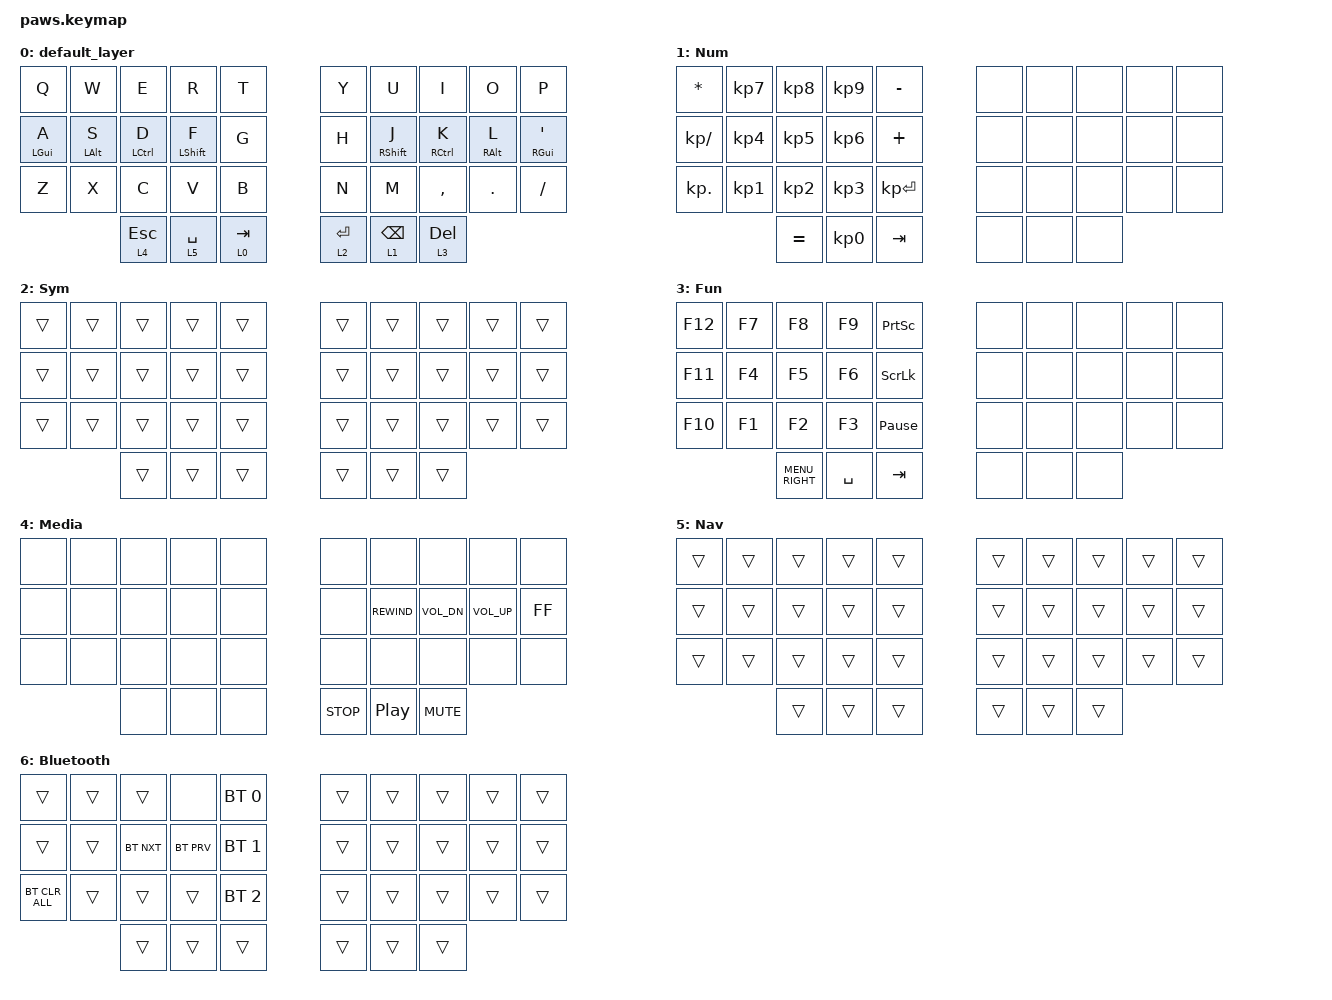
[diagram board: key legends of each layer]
// Copyright (c) 2022 The ZMK Contributors
// SPDX-License-Identifier: MIT

#include <behaviors.dtsi>
#include <dt-bindings/zmk/bt.h>
#include <dt-bindings/zmk/keys.h>

/ {
    behaviors {
        ht: hold_tap {
            compatible = "zmk,behavior-hold-tap";
            #binding-cells = <2>;
            flavor = "tap-preferred";
            tapping-term-ms = <220>;
            quick-tap-ms = <150>;
            require-prior-idle-ms = <100>;
            bindings = <&kp>, <&kp>;
        };
    };

    conditional_layers {
        compatible = "zmk,conditional-layers";

        tri_layer {
            if-layers = <1 2>;
            then-layer = <2>;
        };

        Bluetooth {
            if-layers = <1 5>;
            then-layer = <6>;
        };
    };

    keymap {
        compatible = "zmk,keymap";

        default_layer {
            bindings = <
&kp Q           &kp W       &kp E        &kp R         &kp T      &kp Y        &kp U         &kp I        &kp O       &kp P
&ht LEFT_GUI A  &ht LALT S  &ht LCTRL D  &ht LSHIFT F  &kp G      &kp H        &ht RSHIFT J  &ht RCTRL K  &ht RALT L  &ht RGUI SQT
&kp Z           &kp X       &kp C        &kp V         &kp B      &kp N        &kp M         &kp COMMA    &kp DOT     &kp FSLH
                            &lt 4 ESC    &lt 5 SPACE   &lt 0 TAB  &lt 2 ENTER  &lt 1 BSPC    &lt 3 DEL
            >;
        };

        Num {
            bindings = <
&kp ASTERISK   &kp KP_NUMBER_7  &kp KP_NUMBER_8  &kp KP_NUMBER_9  &kp MINUS     &none  &none  &none  &none  &none
&kp KP_DIVIDE  &kp KP_NUMBER_4  &kp KP_NUMBER_5  &kp KP_NUMBER_6  &kp PLUS      &none  &none  &none  &none  &none
&kp KP_DOT     &kp KP_NUMBER_1  &kp KP_NUMBER_2  &kp KP_NUMBER_3  &kp KP_ENTER  &none  &none  &none  &none  &none
                                &kp EQUAL        &kp KP_NUMBER_0  &kp TAB       &none  &none  &none
            >;
        };

        Sym {
            bindings = <
&trans  &trans  &trans  &trans  &trans  &trans  &trans  &trans  &trans  &trans
&trans  &trans  &trans  &trans  &trans  &trans  &trans  &trans  &trans  &trans
&trans  &trans  &trans  &trans  &trans  &trans  &trans  &trans  &trans  &trans
                &trans  &trans  &trans  &trans  &trans  &trans
            >;
        };

        Fun {
            bindings = <
&kp F12  &kp F7  &kp F8            &kp F9     &kp PRINTSCREEN  &none  &none  &none  &none  &none
&kp F11  &kp F4  &kp F5            &kp F6     &kp SCROLLLOCK   &none  &none  &none  &none  &none
&kp F10  &kp F1  &kp F2            &kp F3     &kp PAUSE_BREAK  &none  &none  &none  &none  &none
                 &kp C_MENU_RIGHT  &kp SPACE  &kp TAB          &none  &none  &none
            >;
        };

        Media {
            bindings = <
&none  &none  &none  &none  &none  &none       &none             &none         &none            &none
&none  &none  &none  &none  &none  &none       &kp C_REWIND      &kp C_VOL_DN  &kp C_VOLUME_UP  &kp C_FF
&none  &none  &none  &none  &none  &none       &none             &none         &none            &none
              &none  &none  &none  &kp C_STOP  &kp C_PLAY_PAUSE  &kp C_MUTE
            >;
        };

        Nav {
            bindings = <
&trans  &trans  &trans  &trans  &trans  &trans  &trans  &trans  &trans  &trans
&trans  &trans  &trans  &trans  &trans  &trans  &trans  &trans  &trans  &trans
&trans  &trans  &trans  &trans  &trans  &trans  &trans  &trans  &trans  &trans
                &trans  &trans  &trans  &trans  &trans  &trans
            >;
        };

        Bluetooth {
            bindings = <
&trans          &trans  &trans      &none       &bt BT_SEL 0  &trans  &trans  &trans  &trans  &trans
&trans          &trans  &bt BT_NXT  &bt BT_PRV  &bt BT_SEL 1  &trans  &trans  &trans  &trans  &trans
&bt BT_CLR_ALL  &trans  &trans      &trans      &bt BT_SEL 2  &trans  &trans  &trans  &trans  &trans
                        &trans      &trans      &trans        &trans  &trans  &trans
            >;
        };
    };
};
